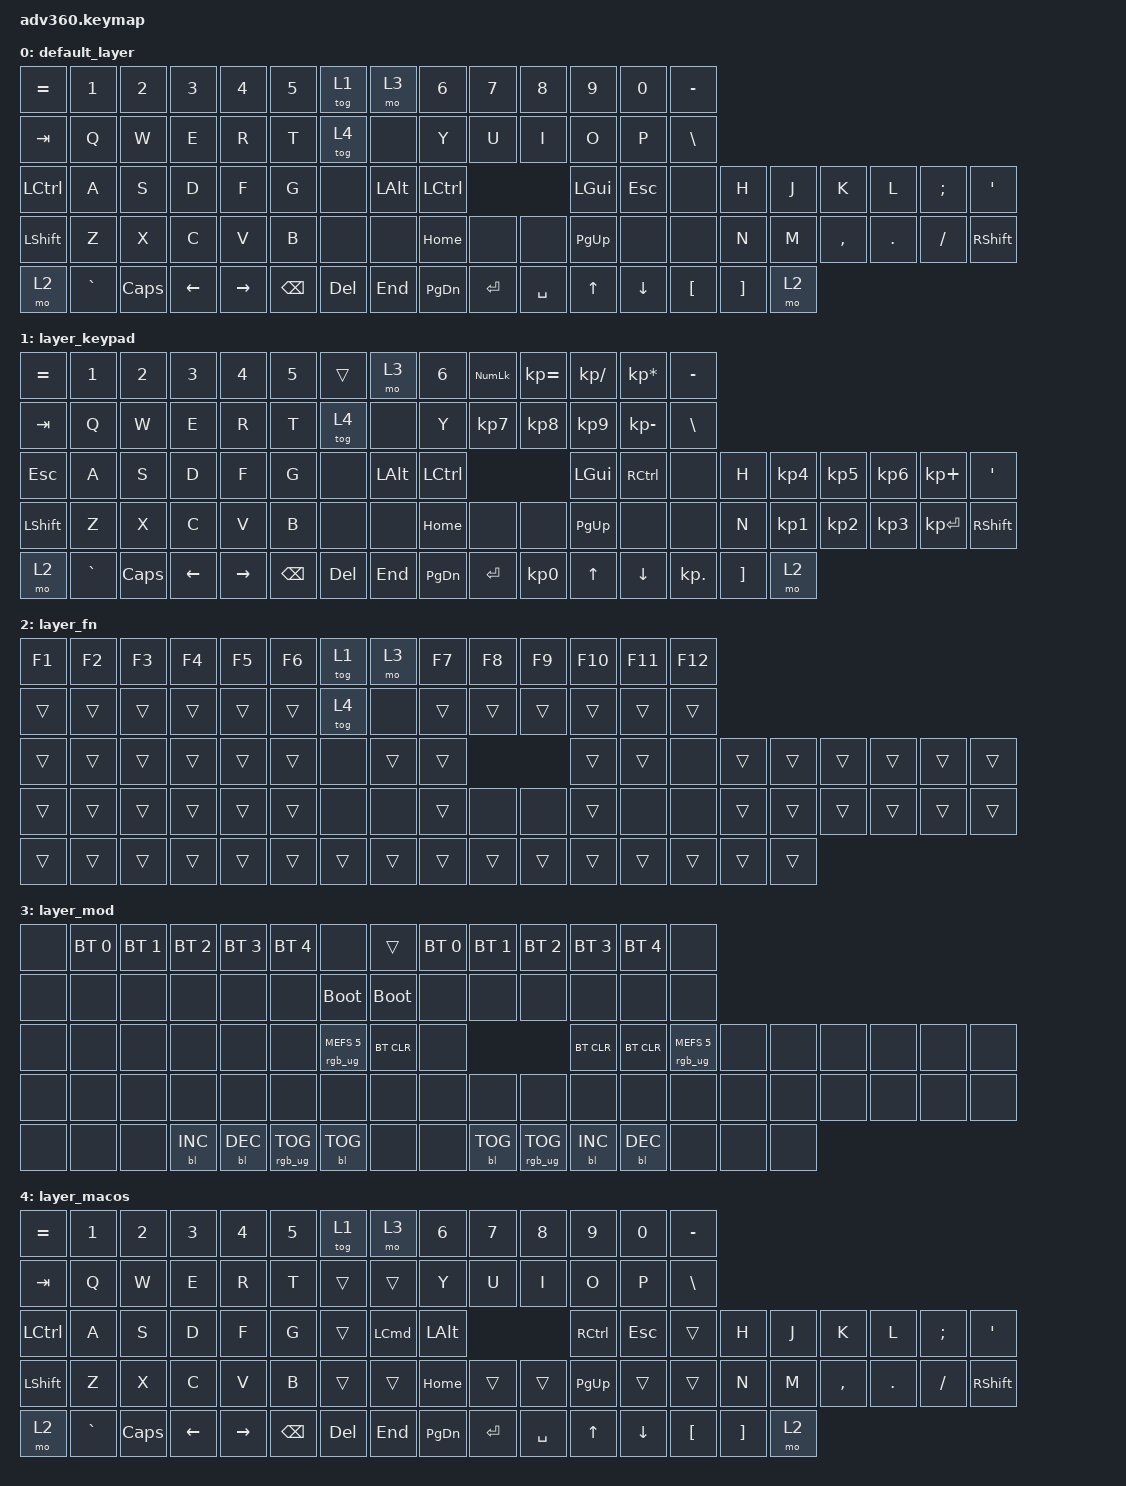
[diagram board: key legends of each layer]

/*
 * Copyright (c) 2020 The ZMK Contributors
 *
 * SPDX-License-Identifier: MIT
 */


/* THIS FILE WAS GENERATED!
 *
 * This file was generated automatically. You may or may not want to
 * edit it directly.
 */

#include <behaviors.dtsi>
#include <dt-bindings/zmk/keys.h>
#include <dt-bindings/zmk/bt.h>
#include <dt-bindings/zmk/rgb.h>
#include <dt-bindings/zmk/backlight.h>

/ {
  behaviors {
    #include "macros.dtsi"
    #include "version.dtsi"
    #ifndef VERSION_MACRO
    macro_ver: macro_ver {
      compatible = "zmk,behavior-macro";
      label = "macro_version";
      #binding-cells = <0>;
      bindings = <&kp RET>;
    };
    #endif

    hm: homerow_mods {
        compatible = "zmk,behavior-hold-tap";
        label = "HOMEROW_MODS";
        #binding-cells = <2>;
        tapping-term-ms = <200>;
        quick_tap_ms = <175>;
        flavor = "tap-preferred";
        bindings = <&kp>, <&kp>;
    };
  };

    keymap {
        compatible = "zmk,keymap";


        default_layer {
            bindings = <
 &kp EQUAL     &kp N1    &kp N2    &kp N3     &kp N4    &kp N5             &tog 1     &mo 3     &kp N6     &kp N7     &kp N8     &kp N9    &kp N0  &kp MINUS
   &kp TAB      &kp Q     &kp W     &kp E      &kp R     &kp T             &tog 4     &none      &kp Y      &kp U      &kp I      &kp O     &kp P   &kp BSLH
 &kp LCTRL      &kp A     &kp S     &kp D      &kp F     &kp G              &none  &kp LALT  &kp LCTRL                         &kp LGUI   &kp ESC      &none     &kp H   &kp J      &kp K    &kp L  &kp SEMI    &kp SQT
 &kp LSHFT      &kp Z     &kp X     &kp C      &kp V     &kp B              &none     &none   &kp HOME      &none      &none  &kp PG_UP     &none      &none     &kp N   &kp M  &kp COMMA  &kp DOT  &kp FSLH  &kp RSHFT
     &mo 2  &kp GRAVE  &kp CAPS  &kp LEFT  &kp RIGHT  &kp BSPC            &kp DEL   &kp END  &kp PG_DN  &kp ENTER  &kp SPACE     &kp UP  &kp DOWN   &kp LBKT  &kp RBKT   &mo 2
            >;
        };

        layer_keypad {
            bindings = <
 &kp EQUAL     &kp N1    &kp N2    &kp N3     &kp N4    &kp N5             &trans     &mo 3     &kp N6  &kp KP_NUM  &kp KP_EQUAL  &kp KP_DIVIDE  &kp KP_MULTIPLY   &kp MINUS
   &kp TAB      &kp Q     &kp W     &kp E      &kp R     &kp T             &tog 4     &none      &kp Y   &kp KP_N7     &kp KP_N8      &kp KP_N9     &kp KP_MINUS    &kp BSLH
   &kp ESC      &kp A     &kp S     &kp D      &kp F     &kp G              &none  &kp LALT  &kp LCTRL                                 &kp LGUI        &kp RCTRL       &none     &kp H  &kp KP_N4  &kp KP_N5  &kp KP_N6   &kp KP_PLUS    &kp SQT
 &kp LSHFT      &kp Z     &kp X     &kp C      &kp V     &kp B              &none     &none   &kp HOME       &none         &none      &kp PG_UP            &none       &none     &kp N  &kp KP_N1  &kp KP_N2  &kp KP_N3  &kp KP_ENTER  &kp RSHFT
     &mo 2  &kp GRAVE  &kp CAPS  &kp LEFT  &kp RIGHT  &kp BSPC            &kp DEL   &kp END  &kp PG_DN   &kp ENTER     &kp KP_N0         &kp UP         &kp DOWN  &kp KP_DOT  &kp RBKT      &mo 2
            >;
        };

        layer_fn {
            bindings = <
 &kp F1  &kp F2  &kp F3  &kp F4  &kp F5  &kp F6            &tog 1   &mo 3  &kp F7  &kp F8  &kp F9  &kp F10  &kp F11  &kp F12
 &trans  &trans  &trans  &trans  &trans  &trans            &tog 4   &none  &trans  &trans  &trans   &trans   &trans   &trans
 &trans  &trans  &trans  &trans  &trans  &trans             &none  &trans  &trans                   &trans   &trans    &none  &trans  &trans  &trans  &trans  &trans  &trans
 &trans  &trans  &trans  &trans  &trans  &trans             &none   &none  &trans   &none   &none   &trans    &none    &none  &trans  &trans  &trans  &trans  &trans  &trans
 &trans  &trans  &trans  &trans  &trans  &trans            &trans  &trans  &trans  &trans  &trans   &trans   &trans   &trans  &trans  &trans
            >;
        };

        layer_mod {
            bindings = <
  &none  &bt BT_SEL 0  &bt BT_SEL 1  &bt BT_SEL 2  &bt BT_SEL 3     &bt BT_SEL 4                             &none       &trans  &bt BT_SEL 0  &bt BT_SEL 1     &bt BT_SEL 2  &bt BT_SEL 3  &bt BT_SEL 4                   &none
  &none         &none         &none         &none         &none            &none                       &bootloader  &bootloader         &none         &none            &none         &none         &none                   &none
  &none         &none         &none         &none         &none            &none            &rgb_ug RGB_MEFS_CMD 5   &bt BT_CLR         &none                                   &bt BT_CLR    &bt BT_CLR  &rgb_ug RGB_MEFS_CMD 5   &none   &none   &none   &none   &none   &none
  &none         &none         &none         &none         &none            &none                             &none        &none         &none         &none            &none         &none         &none                   &none   &none   &none   &none   &none   &none   &none
  &none         &none         &none    &bl BL_INC    &bl BL_DEC  &rgb_ug RGB_TOG                        &bl BL_TOG        &none         &none    &bl BL_TOG  &rgb_ug RGB_TOG    &bl BL_INC    &bl BL_DEC                   &none   &none   &none
            >;
        };

        layer_macos {
            bindings = <
  &kp EQUAL     &kp N1    &kp N2          &kp N3           &kp N4         &kp N5                &tog 1             &mo 3        &kp N6     &kp N7     &kp N8             &kp N9    &kp N0         &kp MINUS
    &kp TAB      &kp Q     &kp W           &kp E            &kp R          &kp T                &trans            &trans         &kp Y      &kp U      &kp I              &kp O     &kp P     &kp BACKSLASH
  &kp LCTRL      &kp A     &kp S           &kp D            &kp F          &kp G                &trans  &kp LEFT_COMMAND  &kp LEFT_ALT                        &kp RIGHT_CONTROL   &kp ESC            &trans              &kp H   &kp J      &kp K       &kp L  &kp SEMICOLON  &kp SINGLE_QUOTE
 &kp LSHIFT      &kp Z     &kp X           &kp C            &kp V          &kp B                &trans            &trans      &kp HOME     &trans     &trans          &kp PG_UP    &trans            &trans              &kp N   &kp M  &kp COMMA  &kp PERIOD      &kp SLASH   &kp RIGHT_SHIFT
      &mo 2  &kp GRAVE  &kp CAPS  &kp LEFT_ARROW  &kp RIGHT_ARROW  &kp BACKSPACE            &kp DELETE           &kp END     &kp PG_DN  &kp ENTER  &kp SPACE             &kp UP  &kp DOWN  &kp LEFT_BRACKET  &kp RIGHT_BRACKET   &mo 2
            >;
        };

    };
};
